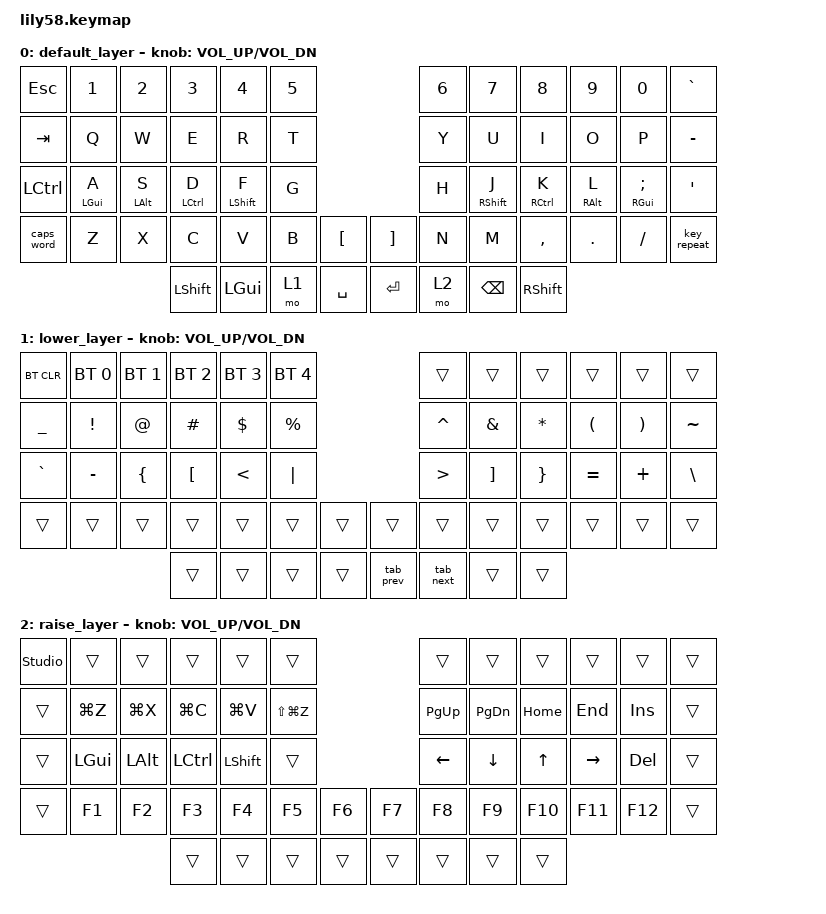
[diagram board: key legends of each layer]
/*
 * Copyright (c) 2020 The ZMK Contributors
 *
 * SPDX-License-Identifier: MIT
 */

#include <behaviors.dtsi>
#include <dt-bindings/zmk/keys.h>
#include <dt-bindings/zmk/bt.h>

/ {
    behaviors {
        // Home row mods — left hand. urob's "timeless" recipe: balanced + require-prior-idle.
        hml: hml {
            compatible = "zmk,behavior-hold-tap";
            #binding-cells = <2>;
            flavor = "balanced";
            tapping-term-ms = <280>;
            quick-tap-ms = <175>;
            require-prior-idle-ms = <150>;
            hold-trigger-key-positions = <
                6  7  8  9  10 11
                18 19 20 21 22 23
                30 31 32 33 34 35
                43 44 45 46 47 48 49
                54 55 56 57
            >;
            hold-trigger-on-release;
            bindings = <&kp>, <&kp>;
        };

        // Home row mods — right hand. Hold triggers only when left-hand key is pressed.
        hmr: hmr {
            compatible = "zmk,behavior-hold-tap";
            #binding-cells = <2>;
            flavor = "tap-unless-interrupted";
            tapping-term-ms = <280>;
            quick-tap-ms = <175>;
            require-prior-idle-ms = <150>;
            hold-trigger-key-positions = <
                0  1  2  3  4  5
                12 13 14 15 16 17
                24 25 26 27 28 29
                36 37 38 39 40 41 42
                50 51 52 53
            >;
            hold-trigger-on-release;
            bindings = <&kp>, <&kp>;
        };
    };

    macros {
        // Rust digraph macros — triggered by combos on bottom-right row
        arrow: arrow {
            compatible = "zmk,behavior-macro";
            #binding-cells = <0>;
            bindings = <&kp MINUS &kp GT>;
        };

        fat_arrow: fat_arrow {
            compatible = "zmk,behavior-macro";
            #binding-cells = <0>;
            bindings = <&kp EQUAL &kp GT>;
        };

        colon2: colon2 {
            compatible = "zmk,behavior-macro";
            #binding-cells = <0>;
            bindings = <&kp COLON &kp COLON>;
        };

        tab_prev: tab_prev {
            compatible = "zmk,behavior-macro";
            #binding-cells = <0>;
            bindings = <&macro_press &kp LSHFT &kp LGUI>
                     , <&macro_tap &kp LBKT>
                     , <&macro_release &kp LSHFT &kp LGUI>;
        };

        tab_next: tab_next {
            compatible = "zmk,behavior-macro";
            #binding-cells = <0>;
            bindings = <&macro_press &kp LSHFT &kp LGUI>
                     , <&macro_tap &kp RBKT>
                     , <&macro_release &kp LSHFT &kp LGUI>;
        };
    };

    combos {
        compatible = "zmk,combos";

        // N+M => "->"  |  M+, => "=>"  |  ,+. => "::"
        combo_arrow {
            timeout-ms = <30>;
            key-positions = <44 45>;
            bindings = <&arrow>;
        };

        combo_fat_arrow {
            timeout-ms = <30>;
            key-positions = <45 46>;
            bindings = <&fat_arrow>;
        };

        combo_colon2 {
            timeout-ms = <30>;
            key-positions = <46 47>;
            bindings = <&colon2>;
        };
    };

    keymap {
        compatible = "zmk,keymap";

        default_layer {
// ┌───────┬─────┬─────┬─────┬─────┬─────┐               ┌─────┬─────┬─────┬─────┬─────┬───────┐
// │  ESC  │  1  │  2  │  3  │  4  │  5  │               │  6  │  7  │  8  │  9  │  0  │   `   │
// ├───────┼─────┼─────┼─────┼─────┼─────┤               ├─────┼─────┼─────┼─────┼─────┼───────┤
// │  TAB  │  Q  │  W  │  E  │  R  │  T  │               │  Y  │  U  │  I  │  O  │  P  │   -   │
// ├───────┼─────┼─────┼─────┼─────┼─────┤               ├─────┼─────┼─────┼─────┼─────┼───────┤
// │ CTRL  │GUI/A│ALT/S│CTL/D│SHF/F│  G  │               │  H  │SHF/J│CTL/K│ALT/L│GUI/;│   '   │
// ├───────┼─────┼─────┼─────┼─────┼─────┼─────┐   ┌─────┼─────┼─────┼─────┼─────┼─────┼───────┤
// │ CAPS  │  Z  │  X  │  C  │  V  │  B  │  [  │   │  ]  │  N  │  M  │  ,  │  .  │  /  │ KRPT  │
// └───────┴─────┴─────┼─────┼─────┼─────┼─────┤   ├─────┼─────┼─────┼─────┼─────┴─────┴───────┘
//                     │LSHFT│ GUI │ LWR │ SPC │   │ ENT │ RSE │BSPC │RSHFT│
//                     └─────┴─────┴─────┴─────┘   └─────┴─────┴─────┴─────┘
//
// HRMs (hold = mod, tap = letter): A=GUI  S=Alt  D=Ctrl  F=Shift  |  J=Shift  K=Ctrl  L=Alt  ;=GUI
// CAPS = caps_word (hold for ALL_CAPS until non-alpha)   KRPT = key_repeat
// Combos (bottom-right): N+M => "->"   M+, => "=>"   ,+. => "::"
            bindings = <
&kp ESC    &kp N1       &kp N2       &kp N3        &kp N4       &kp N5                           &kp N6 &kp N7        &kp N8        &kp N9       &kp N0          &kp GRAVE
&kp TAB    &kp Q        &kp W        &kp E         &kp R        &kp T                            &kp Y  &kp U         &kp I         &kp O        &kp P           &kp MINUS
&kp LCTRL  &hml LGUI A  &hml LALT S  &hml LCTRL D  &hml LSHFT F &kp G                            &kp H  &hmr RSHFT J  &hmr RCTRL K  &hmr RALT L  &hmr RGUI SEMI  &kp SQT
&caps_word &kp Z        &kp X        &kp C         &kp V        &kp B  &kp LBKT     &kp RBKT     &kp N  &kp M         &kp COMMA     &kp DOT      &kp FSLH        &key_repeat
                                     &kp LSHFT     &kp LGUI     &mo 1  &kp SPACE    &kp RET      &mo 2  &kp BSPC      &kp RSHFT
            >;

            sensor-bindings = <&inc_dec_kp C_VOL_UP C_VOL_DN>;
        };

        lower_layer {
// ┌───────┬──────┬──────┬──────┬──────┬──────┐                 ┌──────┬──────┬──────┬──────┬──────┬───────┐
// │ BTCLR │ BT0  │ BT1  │ BT2  │ BT3  │ BT4  │                 │      │      │      │      │      │       │
// ├───────┼──────┼──────┼──────┼──────┼──────┤                 ├──────┼──────┼──────┼──────┼──────┼───────┤
// │   _   │  !   │  @   │  #   │  $   │  %   │                 │  ^   │  &   │  *   │  (   │  )   │   ~   │
// ├───────┼──────┼──────┼──────┼──────┼──────┤                 ├──────┼──────┼──────┼──────┼──────┼───────┤
// │   `   │  -   │  {   │  [   │  <   │  |   │                 │  >   │  ]   │  }   │  =   │  +   │   \   │
// ├───────┼──────┼──────┼──────┼──────┼──────┼──────┐   ┌──────┼──────┼──────┼──────┼──────┼──────┼───────┤
// │       │      │      │      │      │      │      │   │      │      │      │      │      │      │       │
// └───────┴──────┴──────┼──────┼──────┼──────┼──────┤   ├──────┼──────┼──────┼──────┼──────┴──────┴───────┘
//                       │      │      │ ///  │      │   │ <TAB │ TAB> │      │      │
//                       └──────┴──────┴──────┴──────┘   └──────┴──────┴──────┴──────┘
//
// Row 2: lower + number key = its shifted symbol (same column, _ under ESC, ~ under `)
// Row 3: bracket pairs mirrored across center — open left (ring/mid/idx), close right (idx/mid/ring)
// Thumbs: <TAB = Shift+Cmd+[  TAB> = Shift+Cmd+]
            bindings = <
&bt BT_CLR &bt BT_SEL 0 &bt BT_SEL 1 &bt BT_SEL 2 &bt BT_SEL 3 &bt BT_SEL 4                   &trans    &trans    &trans    &trans    &trans    &trans
&kp UNDER  &kp EXCL     &kp AT       &kp HASH      &kp DOLLAR   &kp PRCNT                       &kp CARET &kp AMPS  &kp ASTRK &kp LPAR  &kp RPAR  &kp TILDE
&kp GRAVE  &kp MINUS    &kp LBRC     &kp LBKT      &kp LT       &kp PIPE                        &kp GT    &kp RBKT  &kp RBRC  &kp EQUAL &kp PLUS  &kp BSLH
&trans     &trans       &trans       &trans        &trans       &trans  &trans     &trans        &trans    &trans    &trans    &trans    &trans    &trans
                                     &trans        &trans       &trans  &trans     &tab_prev     &tab_next &trans    &trans
            >;

            sensor-bindings = <&inc_dec_kp C_VOL_UP C_VOL_DN>;
        };

        raise_layer {
// ┌───────┬──────┬──────┬──────┬──────┬──────┐                 ┌──────┬──────┬──────┬──────┬──────┬───────┐
// │STUDIO │      │      │      │      │      │                 │      │      │      │      │      │       │
// ├───────┼──────┼──────┼──────┼──────┼──────┤                 ├──────┼──────┼──────┼──────┼──────┼───────┤
// │       │ UNDO │ CUT  │ COPY │PASTE │ REDO │                 │ PGUP │ PGDN │ HOME │ END  │ INS  │       │
// ├───────┼──────┼──────┼──────┼──────┼──────┤                 ├──────┼──────┼──────┼──────┼──────┼───────┤
// │       │ GUI  │ ALT  │ CTRL │ SHFT │      │                 │  <-  │  v   │  ^   │  ->  │ DEL  │       │
// ├───────┼──────┼──────┼──────┼──────┼──────┼──────┐   ┌──────┼──────┼──────┼──────┼──────┼──────┼───────┤
// │       │  F1  │  F2  │  F3  │  F4  │  F5  │  F6  │   │  F7  │  F8  │  F9  │ F10  │ F11  │ F12  │       │
// └───────┴──────┴──────┼──────┼──────┼──────┼──────┤   ├──────┼──────┼──────┼──────┼──────┴──────┴───────┘
//                       │      │      │      │      │   │      │ ///  │      │      │
//                       └──────┴──────┴──────┴──────┘   └──────┴──────┴──────┴──────┘
//
// Left row 2: macOS edit shortcuts (Cmd+Z/X/C/V, Cmd+Shift+Z)
// Left home row: direct mods for one-handed nav chords (e.g. Shift+arrow, Cmd+arrow)
// Right: arrows on home row, PgUp/PgDn/Home/End above, F1-F12 on row 4
            bindings = <
&studio_unlock &trans    &trans    &trans     &trans     &trans                                  &trans    &trans    &trans   &trans    &trans   &trans
&trans         &kp LG(Z) &kp LG(X) &kp LG(C)  &kp LG(V)  &kp LS(LG(Z))                         &kp PG_UP &kp PG_DN &kp HOME &kp END   &kp INS  &trans
&trans         &kp LGUI  &kp LALT  &kp LCTRL  &kp LSHFT  &trans                                 &kp LEFT  &kp DOWN  &kp UP   &kp RIGHT &kp DEL  &trans
&trans         &kp F1    &kp F2    &kp F3     &kp F4     &kp F5  &kp F6     &kp F7              &kp F8    &kp F9    &kp F10  &kp F11   &kp F12  &trans
                                   &trans     &trans     &trans  &trans     &trans               &trans    &trans    &trans
            >;

            sensor-bindings = <&inc_dec_kp C_VOL_UP C_VOL_DN>;
        };
    };
};
